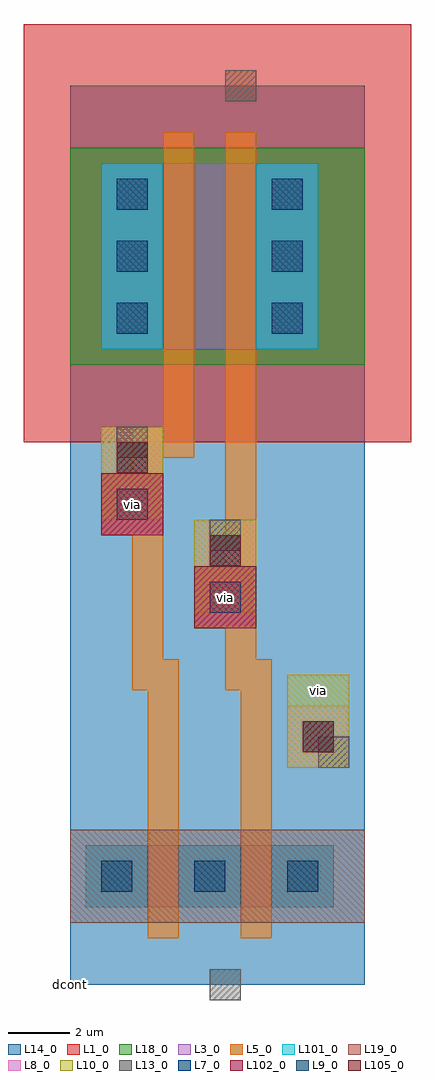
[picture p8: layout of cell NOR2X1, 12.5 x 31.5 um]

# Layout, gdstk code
import gdstk
lib = gdstk.Library(unit=1e-6, precision=1e-09)
def R(c, l, rs):  # rectangles x0, y0, x1, y1
    for r in rs: c.add(gdstk.rectangle(r[:2], r[2:], *l))
def A(c, l, x, y, w, h, nx, ny, dx, dy):  # array of equal rectangles
    R(c, l, [(x+i*dx, y+j*dy, x+i*dx+w, y+j*dy+h) for i in range(nx) for j in range(ny)])
def P(c, l, *ps):  # polygons
    for p in ps: c.add(gdstk.Polygon(p, *l))
L1_0 = (1, 0)
L3_0 = (3, 0)
L5_0 = (5, 0)
L7_0 = (7, 0)
L8_0 = (8, 0)
L9_0 = (9, 0)
L10_0 = (10, 0)
L13_0 = (13, 0)
L14_0 = (14, 0)
L18_0 = (18, 0)
L19_0 = (19, 0)
L101_0 = (101, 0)
L102_0 = (102, 0)
L105_0 = (105, 0)

nor2x1 = lib.new_cell('NOR2X1')
R(nor2x1, L1_0, [(-1.5,17.5,11,31)])
R(nor2x1, L3_0, [(0.5,2.5,8.5,4.5), (1,20.5,8,26.5)])
P(nor2x1, L5_0, [(2.5,1.5),(2.5,9.5),(2,9.5),(2,14.5),(1,14.5),(1,16.5),(2,16.5),(2,18),(3,18),(3,27.5),(4,27.5),(4,17),(3,17),(3,10.5),(3.5,10.5),(3.5,1.5)],
  [(5.5,1.5),(5.5,9.5),(5,9.5),(5,11.5),(4,11.5),(4,13.5),(5,13.5),(5,27.5),(6,27.5),(6,10.5),(6.5,10.5),(6.5,1.5)])
A(nor2x1, L7_0, 1, 3, 1, 1, 3, 1, 3, 0)
A(nor2x1, L7_0, 1.5, 21, 1, 1, 1, 3, 0, 2)
A(nor2x1, L7_0, 6.5, 21, 1, 1, 1, 3, 0, 2)
R(nor2x1, L7_0, [(4.5,12,5.5,13), (1.5,15,2.5,16)])
R(nor2x1, L8_0, [(7,7,9,9), (4,11.5,6,15), (1,14.5,3,18)])
R(nor2x1, L9_0, [(7.5,7.5,8.5,8.5), (4.5,13.5,5.5,14.5), (1.5,16.5,2.5,17.5)])
R(nor2x1, L10_0, [(7,7,9,10), (4,12,6,15), (1,15,3,18)])
A(nor2x1, L13_0, 1, 3, 1, 1, 3, 1, 3, 0)
A(nor2x1, L13_0, 1.5, 21, 1, 1, 1, 3, 0, 2)
A(nor2x1, L13_0, 6.5, 21, 1, 1, 1, 3, 0, 2)
R(nor2x1, L13_0, [(4.5,-0.5,5.5,0.5), (8,7,9,8), (4.5,14,5.5,15), (1.5,17,2.5,18), (5,28.5,6,29.5)])
R(nor2x1, L14_0, [(0,0,9.5,29)])
R(nor2x1, L18_0, [(0,20,9.5,27)])
R(nor2x1, L19_0, [(0,2,9.5,5)])
A(nor2x1, L101_0, 0.5, 2.5, 2, 2, 3, 1, 3, 0)
R(nor2x1, L101_0, [(1,20.5,3,26.5), (6,20.5,8,26.5)])
R(nor2x1, L102_0, [(4,11.5,6,13.5), (1,14.5,3,16.5)])
R(nor2x1, L105_0, [(7.5,7.5,8.5,8.5), (4.5,13.5,5.5,14.5), (1.5,16.5,2.5,17.5)])
nor2x1.add(gdstk.Label('via', (2,15.5), layer=13, texttype=0))
nor2x1.add(gdstk.Label('via', (5,12.5), layer=13, texttype=0))
nor2x1.add(gdstk.Label('via', (8,9.5), layer=13, texttype=0))
nor2x1.add(gdstk.Label('dcont', (0,0), layer=13, texttype=0))
nor2x1.add(gdstk.Label('dcont', (0,0), layer=13, texttype=0))
nor2x1.add(gdstk.Label('dcont', (0,0), layer=13, texttype=0))
nor2x1.add(gdstk.Label('dcont', (0,0), layer=13, texttype=0))
nor2x1.add(gdstk.Label('dcont', (0,0), layer=13, texttype=0))
nor2x1.add(gdstk.Label('dcont', (0,0), layer=13, texttype=0))
nor2x1.add(gdstk.Label('dcont', (0,0), layer=13, texttype=0))
nor2x1.add(gdstk.Label('dcont', (0,0), layer=13, texttype=0))
nor2x1.add(gdstk.Label('dcont', (0,0), layer=13, texttype=0))
nor2x1.add(gdstk.Label('PScon', (0,0), layer=13, texttype=0))
nor2x1.add(gdstk.Label('dcont', (0,0), layer=13, texttype=0))
nor2x1.add(gdstk.Label('via', (0,0), layer=13, texttype=0))
nor2x1.add(gdstk.Label('via', (0,0), layer=13, texttype=0))
nor2x1.add(gdstk.Label('via', (0,0), layer=13, texttype=0))
nor2x1.add(gdstk.Label('pcont', (0,0), layer=13, texttype=0))
nor2x1.add(gdstk.Label('pcont', (0,0), layer=13, texttype=0))
nor2x1.add(gdstk.Label('NScont', (0,0), layer=13, texttype=0))
nor2x1.add(gdstk.Label('dcont', (0,0), layer=13, texttype=0))

lib.write_gds('NOR2X1.gds')
